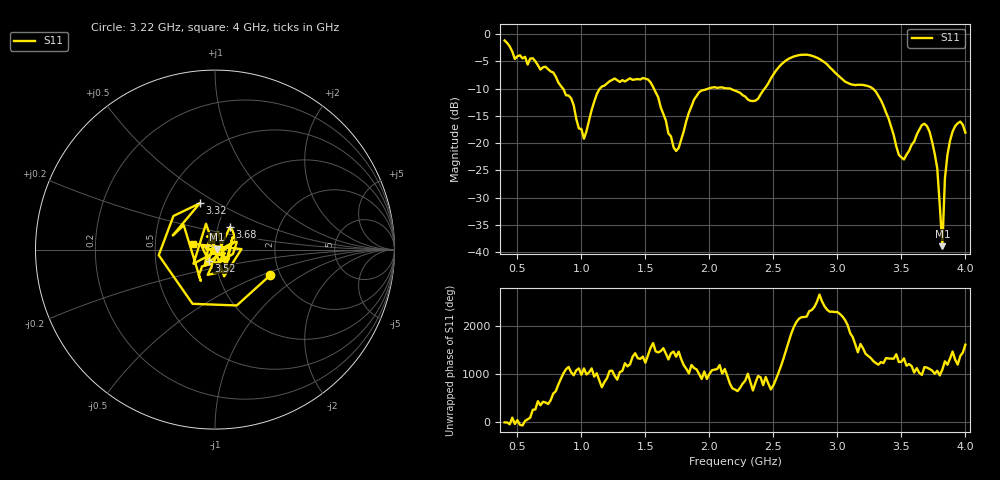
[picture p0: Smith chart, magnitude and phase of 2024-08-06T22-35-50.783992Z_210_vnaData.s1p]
!Created with skrf (http://scikit-rf.org).
# Hz S RI R 50.0
!freq ReS11 ImS11
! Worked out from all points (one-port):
!   181 points, 400 MHz to 4 GHz, reference 50 ohm
!   lowest |S11| = -38.9 dB at 3.82 GHz (marker M1), VSWR 1.02, Z = 51.1 + j0.141 ohm
!   |S11| at or under -10 dB: 857 MHz to 1.144 GHz (287 MHz wide, 28.7 % of centre); 1.567 GHz to 1.989 GHz (422.1 MHz wide, 23.7 % of centre); 3.278 GHz to end of sweep (the widest 3 of 4)
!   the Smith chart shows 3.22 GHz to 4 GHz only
!   S11 on the Smith chart (normalised r, x): 3.22 GHz: 1.77, -0.57; 3.32 GHz: 0.75, +0.41; 3.52 GHz: 0.92, -0.11; 3.68 GHz: 1.14, +0.29; 4 GHz: 0.78, +0.05
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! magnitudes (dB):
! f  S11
! 400 MHz  -1.1
! 480 MHz  -4.5
! 620 MHz  -4.4
! 860 MHz  -10.1
! 1.02 GHz  -19.2
! 1.14 GHz  -10.1
! 1.3 GHz  -8.8
! 1.54 GHz  -8.8
! 1.72 GHz  -20.8
! 1.76 GHz  -20.9
! 1.92 GHz  -10.6
! 2.2 GHz  -10.3
! 2.36 GHz  -12.2
! 2.66 GHz  -4.1
! 2.86 GHz  -4.5
! 3.1 GHz  -9.1
! 3.22 GHz  -9.4
! 3.32 GHz  -11.3
! 3.52 GHz  -23.0
! 3.56 GHz  -21.4
! 3.68 GHz  -16.4
! 3.72 GHz  -17.9
! 3.78 GHz  -24.6
! 3.82 GHz  -38.9
! 3.84 GHz  -26.5
! 3.88 GHz  -19.5
! 3.96 GHz  -16.0
! 4 GHz  -18.1
